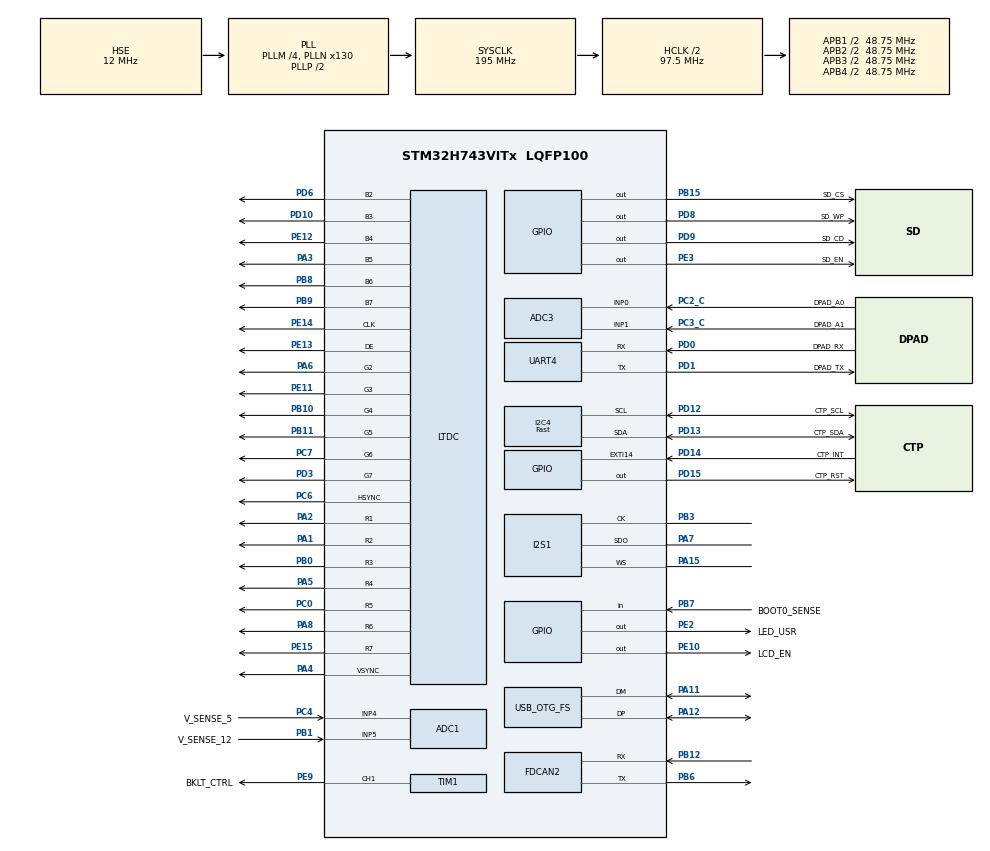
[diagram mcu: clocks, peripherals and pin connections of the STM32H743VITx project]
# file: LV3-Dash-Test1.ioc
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ADC1.Channel-1\#ChannelRegularConversion=ADC_CHANNEL_4
ADC1.NbrOfConversionFlag=1
ADC1.OffsetNumber-1\#ChannelRegularConversion=ADC_OFFSET_NONE
ADC1.OffsetSignedSaturation-1\#ChannelRegularConversion=DISABLE
ADC1.Rank-1\#ChannelRegularConversion=1
ADC1.SamplingTime-1\#ChannelRegularConversion=ADC_SAMPLETIME_1CYCLE_5
ADC1.master=1
ADC3.Channel-0\#ChannelRegularConversion=ADC_CHANNEL_TEMPSENSOR
ADC3.NbrOfConversion=1
ADC3.NbrOfConversionFlag=1
ADC3.OffsetNumber-0\#ChannelRegularConversion=ADC_OFFSET_NONE
ADC3.OffsetSignedSaturation-0\#ChannelRegularConversion=DISABLE
ADC3.Rank-0\#ChannelRegularConversion=1
ADC3.SamplingTime-0\#ChannelRegularConversion=ADC_SAMPLETIME_32CYCLES_5
CORTEX_M7.CPU_DCache=Enabled
CORTEX_M7.CPU_ICache=Enabled
CORTEX_M7.Enable_Spec=__NULL
CORTEX_M7.MPU_Control=__NULL
CORTEX_M7.default_mode_Activation=1
DMA2D.ColorMode=DMA2D_OUTPUT_RGB565
FDCAN2.CalculateBaudRateNominal=781250
FDCAN2.CalculateTimeBitNominal=1280
FDCAN2.CalculateTimeQuantumNominal=426.6666666666667
FDCAN2.TxBuffersNbr=16
FDCAN2.TxEventsNbr=8
FDCAN2.TxFifoQueueElmtsNbr=16
I2C4.I2C_Speed_Mode=I2C_Fast
I2C4.Speed=300
I2C4.Timing=0x00403A5E
I2S1.ErrorAudioFreq=-0.01 %
I2S1.Instance=SPI$Index
I2S1.RealAudioFreq=7.999 KHz
LTDC.ActiveH=272
LTDC.ActiveW=480
LTDC.Alpha0_L0=255
LTDC.Alpha_L0=255
LTDC.Blue_L0=255
LTDC.HBP=40
LTDC.HFP=5
LTDC.ImageHeight_L0=272
LTDC.ImageWidth_L0=480
LTDC.Layers=0
LTDC.PixelFormat_L0=LTDC_PIXEL_FORMAT_RGB565
LTDC.VBP=8
LTDC.VFP=8
LTDC.WindowX1_L0=480
LTDC.WindowY0_L0=0
LTDC.WindowY1_L0=272
Mcu.Family=STM32H7
Mcu.Name=STM32H743VITx
Mcu.Package=LQFP100
NVIC.LTDC_ER_IRQn=true\:0\:0\:false\:false\:true\:true\:true\:true
NVIC.LTDC_IRQn=true\:0\:0\:false\:false\:true\:true\:true\:true
NVIC.PriorityGroup=NVIC_PRIORITYGROUP_4
PA1.Mode=RGB666
PA1.Signal=LTDC_R2
PA11.Mode=Host_Only
PA11.Signal=USB_OTG_FS_DM
PA12.Mode=Host_Only
PA12.Signal=USB_OTG_FS_DP
PA13\ (JTMS/SWDIO).Mode=Serial_Wire
PA13\ (JTMS/SWDIO).Signal=DEBUG_JTMS-SWDIO
PA14\ (JTCK/SWCLK).Mode=Serial_Wire
PA14\ (JTCK/SWCLK).Signal=DEBUG_JTCK-SWCLK
PA15\ (JTDI).Mode=Half_Duplex_Master_Tx
PA15\ (JTDI).Signal=I2S1_WS
PA2.Mode=RGB666
PA2.Signal=LTDC_R1
PA3.Mode=RGB666
PA3.Signal=LTDC_B5
PA4.Mode=RGB666
PA4.Signal=LTDC_VSYNC
PA5.Mode=RGB666
PA5.Signal=LTDC_R4
PA6.Mode=RGB666
PA6.Signal=LTDC_G2
PA7.Mode=Half_Duplex_Master_Tx
PA7.Signal=I2S1_SDO
PA8.Mode=RGB666
PA8.Signal=LTDC_R6
PB0.Mode=RGB666
PB0.Signal=LTDC_R3
PB1.GPIO_Label=V_SENSE_12
PB1.Signal=ADCx_INP5
PB10.Mode=RGB666
PB10.Signal=LTDC_G4
PB11.Mode=RGB666
PB11.Signal=LTDC_G5
PB12.Mode=FDCAN_Activate
PB12.Signal=FDCAN2_RX
PB15.GPIO_Label=SD_CS
PB15.Signal=GPIO_Output
PB3\ (JTDO/TRACESWO).Mode=Half_Duplex_Master_Tx
PB3\ (JTDO/TRACESWO).Signal=I2S1_CK
PB6.Mode=FDCAN_Activate
PB6.Signal=FDCAN2_TX
PB7.GPIO_Label=BOOT0_SENSE
PB7.Signal=GPIO_Input
PB8.Mode=RGB666
PB8.Signal=LTDC_B6
PB9.Mode=RGB666
PB9.Signal=LTDC_B7
PC0.Mode=RGB666
PC0.Signal=LTDC_R5
PC2_C.GPIO_Label=DPAD_A0
PC2_C.Mode=IN0-Single-Ended
PC2_C.Signal=ADC3_INP0
PC3_C.GPIO_Label=DPAD_A1
PC3_C.Mode=IN1-Single-Ended
PC3_C.Signal=ADC3_INP1
PC4.GPIO_Label=V_SENSE_5
PC4.Signal=ADCx_INP4
PC6.Mode=RGB666
PC6.Signal=LTDC_HSYNC
PC7.Mode=RGB666
PC7.Signal=LTDC_G6
PD0.GPIO_Label=DPAD_RX
PD0.Mode=Asynchronous
PD0.Signal=UART4_RX
PD1.GPIO_Label=DPAD_TX
PD1.Mode=Asynchronous
PD1.Signal=UART4_TX
PD10.Mode=RGB666
PD10.Signal=LTDC_B3
PD12.GPIO_Label=CTP_SCL
PD12.GPIO_Speed=GPIO_SPEED_FREQ_HIGH
PD12.Mode=I2C
PD12.Signal=I2C4_SCL
PD13.GPIO_Label=CTP_SDA
PD13.GPIO_Speed=GPIO_SPEED_FREQ_HIGH
PD13.Mode=I2C
PD13.Signal=I2C4_SDA
PD14.GPIO_Label=CTP_INT
PD14.GPIO_ModeDefaultEXTI=GPIO_MODE_IT_RISING_FALLING
PD14.Signal=GPXTI14
PD15.GPIO_Label=CTP_RST
PD15.Signal=GPIO_Output
PD3.Mode=RGB666
PD3.Signal=LTDC_G7
PD6.Mode=RGB666
PD6.Signal=LTDC_B2
PD8.GPIO_Label=SD_WP
PD8.Signal=GPIO_Output
PD9.GPIO_Label=SD_CD
PD9.Signal=GPIO_Output
PE10.GPIO_Label=LCD_EN
PE10.Signal=GPIO_Output
PE11.Mode=RGB666
PE11.Signal=LTDC_G3
PE12.Mode=RGB666
PE12.Signal=LTDC_B4
PE13.Mode=RGB666
PE13.Signal=LTDC_DE
PE14.Mode=RGB666
PE14.Signal=LTDC_CLK
PE15.Mode=RGB666
PE15.Signal=LTDC_R7
PE2.GPIO_Label=LED_USR
PE2.Signal=GPIO_Output
PE3.GPIO_Label=SD_EN
PE3.Signal=GPIO_Output
PE9.GPIO_Label=BKLT_CTRL
PE9.Signal=S_TIM1_CH1
PH0-OSC_IN\ (PH0).Mode=HSE-External-Oscillator
PH0-OSC_IN\ (PH0).Signal=RCC_OSC_IN
PH1-OSC_OUT\ (PH1).Mode=HSE-External-Oscillator
PH1-OSC_OUT\ (PH1).Signal=RCC_OSC_OUT
ProjectManager.HeapSize=0x200
ProjectManager.StackSize=0x400
ProjectManager.TargetToolchain=CMake
RCC.ADCFreq_Value=75000000
RCC.APB1Freq_Value=48750000
RCC.APB2Freq_Value=48750000
RCC.APB3Freq_Value=48750000
RCC.APB4Freq_Value=48750000
RCC.CortexFreq_Value=195000000
RCC.D1PPRE=RCC_APB3_DIV2
RCC.D2PPRE1=RCC_APB1_DIV2
RCC.D2PPRE2=RCC_APB2_DIV2
RCC.D3PPRE=RCC_APB4_DIV2
RCC.DIVM1=4
RCC.DIVM2=8
RCC.DIVM3=8
RCC.DIVN1=130
RCC.DIVN2=100
RCC.DIVN3=192
RCC.DIVQ2=4
RCC.DIVR3=24
RCC.FDCANCLockSelection=RCC_FDCANCLKSOURCE_PLL2
RCC.HCLKFreq_Value=97500000
RCC.HPRE=RCC_HCLK_DIV2
RCC.HSE_VALUE=12000000
RCC.PLLSourceVirtual=RCC_PLLSOURCE_HSE
RCC.SDMMC1CLockSelection=RCC_SDMMCCLKSOURCE_PLL2
RCC.SPI123CLockSelection=RCC_SPI123CLKSOURCE_PLL2
RCC.SYSCLKFreq_VALUE=195000000
RCC.SYSCLKSource=RCC_SYSCLKSOURCE_PLLCLK
RCC.USBCLockSelection=RCC_USBCLKSOURCE_HSI48
RCC.USBFreq_Value=48000000
SH.ADCx_INP4.0=ADC1_INP4,IN4-Single-Ended
SH.ADCx_INP5.0=ADC1_INP5,IN5-Single-Ended
SH.S_TIM1_CH1.0=TIM1_CH1,PWM Generation1 CH1
TIM1.Channel-PWM\ Generation1\ CH1=TIM_CHANNEL_1
TIM1.Period=100
TIM1.Prescaler=10000
USB_OTG_FS.VirtualMode=Host_Only
USB_OTG_FS.phy_itface=HCD_PHY_EMBEDDED
VP_ADC3_TempSens_Input.Mode=IN-TempSens
VP_DMA2D_VS_DMA2D.Mode=DMA2D_Activate
VP_MEMORYMAP_VS_MEMORYMAP.Mode=CurAppReg
board=custom

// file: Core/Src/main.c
/* USER CODE BEGIN Header */
/**
 ******************************************************************************
 * @file           : main.c
 * @brief          : Main program body
 ******************************************************************************
 * @attention
 *
 * Copyright (c) 2026 STMicroelectronics.
 * All rights reserved.
 *
 * This software is licensed under terms that can be found in the LICENSE file
 * in the root directory of this software component.
 * If no LICENSE file comes with this software, it is provided AS-IS.
 *
 ******************************************************************************
 */
/* USER CODE END Header */
#include "main.h"

/* USER CODE BEGIN Includes */

#include <string.h>

// #include "ui.h"
#include "FT5206.h"
#include "LCDController.h"
#include "demos/widgets/lv_demo_widgets.h"
#include "lv_demos.h"
#include "lvgl.h"

/* USER CODE END Includes */

ADC_HandleTypeDef hadc1;
ADC_HandleTypeDef hadc3;

DMA2D_HandleTypeDef hdma2d;

FDCAN_HandleTypeDef hfdcan2;

I2C_HandleTypeDef hi2c4;

I2S_HandleTypeDef hi2s1;

LTDC_HandleTypeDef hltdc;

TIM_HandleTypeDef htim1;

UART_HandleTypeDef huart4;

HCD_HandleTypeDef hhcd_USB_OTG_FS;

/* USER CODE BEGIN PV */

uint16_t adc_temp_value;
uint16_t mcu_temperature;

/* USER CODE END PV */

void SystemClock_Config(void);
void PeriphCommonClock_Config(void);
static void MX_GPIO_Init(void);
static void MX_I2S1_Init(void);
static void MX_LTDC_Init(void);
static void MX_USB_OTG_FS_HCD_Init(void);
static void MX_ADC3_Init(void);
static void MX_ADC1_Init(void);
static void MX_I2C4_Init(void);
static void MX_TIM1_Init(void);
static void MX_UART4_Init(void);
static void MX_FDCAN2_Init(void);
static void MX_DMA2D_Init(void);

int main(void)
{

  /* USER CODE BEGIN 1 */

  // start PWM at 0%

  /* USER CODE END 1 */

  /* Enable the CPU Cache */

  /* Enable I-Cache---------------------------------------------------------*/
  SCB_EnableICache();

  /* Enable D-Cache---------------------------------------------------------*/
  SCB_EnableDCache();

  /* MCU Configuration--------------------------------------------------------*/

  /* Reset of all peripherals, Initializes the Flash interface and the Systick. */
  HAL_Init();

  /* Configure the system clock */
  SystemClock_Config();

  /* Configure the peripherals common clocks */
  PeriphCommonClock_Config();

  /* Initialize all configured peripherals */
  MX_GPIO_Init();
  MX_I2S1_Init();
  MX_LTDC_Init();
  MX_USB_OTG_FS_HCD_Init();
  MX_ADC3_Init();
  MX_ADC1_Init();
  MX_I2C4_Init();
  MX_TIM1_Init();
  MX_UART4_Init();
  MX_FDCAN2_Init();
  MX_DMA2D_Init();
  /* USER CODE BEGIN 2 */

  __HAL_TIM_SET_COMPARE(&htim1, TIM_CHANNEL_1, 0);
  HAL_TIM_PWM_Start(&htim1, TIM_CHANNEL_1);

  // clear frame buffers
  // memset(fb_axiram, 0, FRAME_SIZE);
  // memset(fb_sram, 0, FRAME_SIZE);

  lv_init();
  lv_port_disp_init(&hltdc);

  FT5206_Init();
  static lv_indev_drv_t indev_drv;
  lv_indev_drv_init(&indev_drv);
  indev_drv.type = LV_INDEV_TYPE_POINTER;
  indev_drv.read_cb = FT5206_Read;
  lv_indev_drv_register(&indev_drv);

  // lv_demo_benchmark();
  lv_demo_widgets();

  // ui_init();

  static int backlight_pct = 0;

  /* USER CODE END 2 */

  /* Infinite loop */
  while (1) {

    /* USER CODE BEGIN 3 */
    if (backlight_pct <= 100) {
      backlight_pct++;
      __HAL_TIM_SET_COMPARE(&htim1, TIM_CHANNEL_1, backlight_pct);
    }

    HAL_ADC_Start(&hadc3);
    if (HAL_ADC_PollForConversion(&hadc3, 10) == HAL_OK) {
      adc_temp_value = HAL_ADC_GetValue(&hadc3);
      // Convert ADC value to temperature in Celsius
      // STM32H7 internal temp sensor: ~0.61mV/°C with 760mV at 25°C
      mcu_temperature =
          __HAL_ADC_CALC_TEMPERATURE(3300, adc_temp_value, ADC_RESOLUTION_16B);
    }
    HAL_ADC_Stop(&hadc3);

    // HAL_GPIO_TogglePin(LED_USR_GPIO_Port, LED_USR_Pin);
    lv_task_handler();
    HAL_Delay(5);
  }
  /* USER CODE END 3 */
}

void SystemClock_Config(void)
{
  RCC_OscInitTypeDef RCC_OscInitStruct = {0};
  RCC_ClkInitTypeDef RCC_ClkInitStruct = {0};

  /** Supply configuration update enable
  */
  HAL_PWREx_ConfigSupply(PWR_LDO_SUPPLY);

  /** Configure the main internal regulator output voltage
  */
  __HAL_PWR_VOLTAGESCALING_CONFIG(PWR_REGULATOR_VOLTAGE_SCALE3);

  while(!__HAL_PWR_GET_FLAG(PWR_FLAG_VOSRDY)) {}

  /** Initializes the RCC Oscillators according to the specified parameters
  * in the RCC_OscInitTypeDef structure.
  */
  RCC_OscInitStruct.OscillatorType = RCC_OSCILLATORTYPE_HSI48|RCC_OSCILLATORTYPE_HSE;
  RCC_OscInitStruct.HSEState = RCC_HSE_ON;
  RCC_OscInitStruct.HSI48State = RCC_HSI48_ON;
  RCC_OscInitStruct.PLL.PLLState = RCC_PLL_ON;
  RCC_OscInitStruct.PLL.PLLSource = RCC_PLLSOURCE_HSE;
  RCC_OscInitStruct.PLL.PLLM = 4;
  RCC_OscInitStruct.PLL.PLLN = 130;
  RCC_OscInitStruct.PLL.PLLP = 2;
  RCC_OscInitStruct.PLL.PLLQ = 2;
  RCC_OscInitStruct.PLL.PLLR = 2;
  RCC_OscInitStruct.PLL.PLLRGE = RCC_PLL1VCIRANGE_1;
  RCC_OscInitStruct.PLL.PLLVCOSEL = RCC_PLL1VCOWIDE;
  RCC_OscInitStruct.PLL.PLLFRACN = 0;
  if (HAL_RCC_OscConfig(&RCC_OscInitStruct) != HAL_OK)
  {
    Error_Handler();
  }

  /** Initializes the CPU, AHB and APB buses clocks
  */
  RCC_ClkInitStruct.ClockType = RCC_CLOCKTYPE_HCLK|RCC_CLOCKTYPE_SYSCLK
                              |RCC_CLOCKTYPE_PCLK1|RCC_CLOCKTYPE_PCLK2
                              |RCC_CLOCKTYPE_D3PCLK1|RCC_CLOCKTYPE_D1PCLK1;
  RCC_ClkInitStruct.SYSCLKSource = RCC_SYSCLKSOURCE_PLLCLK;
  RCC_ClkInitStruct.SYSCLKDivider = RCC_SYSCLK_DIV1;
  RCC_ClkInitStruct.AHBCLKDivider = RCC_HCLK_DIV2;
  RCC_ClkInitStruct.APB3CLKDivider = RCC_APB3_DIV2;
  RCC_ClkInitStruct.APB1CLKDivider = RCC_APB1_DIV2;
  RCC_ClkInitStruct.APB2CLKDivider = RCC_APB2_DIV2;
  RCC_ClkInitStruct.APB4CLKDivider = RCC_APB4_DIV2;

  if (HAL_RCC_ClockConfig(&RCC_ClkInitStruct, FLASH_LATENCY_2) != HAL_OK)
  {
    Error_Handler();
  }
}

void PeriphCommonClock_Config(void)
{
  RCC_PeriphCLKInitTypeDef PeriphClkInitStruct = {0};

  /** Initializes the peripherals clock
  */
  PeriphClkInitStruct.PeriphClockSelection = RCC_PERIPHCLK_ADC|RCC_PERIPHCLK_SPI1
                              |RCC_PERIPHCLK_FDCAN;
  PeriphClkInitStruct.PLL2.PLL2M = 8;
  PeriphClkInitStruct.PLL2.PLL2N = 100;
  PeriphClkInitStruct.PLL2.PLL2P = 2;
  PeriphClkInitStruct.PLL2.PLL2Q = 4;
  PeriphClkInitStruct.PLL2.PLL2R = 2;
  PeriphClkInitStruct.PLL2.PLL2RGE = RCC_PLL2VCIRANGE_0;
  PeriphClkInitStruct.PLL2.PLL2VCOSEL = RCC_PLL2VCOMEDIUM;
  PeriphClkInitStruct.PLL2.PLL2FRACN = 0;
  PeriphClkInitStruct.Spi123ClockSelection = RCC_SPI123CLKSOURCE_PLL2;
  PeriphClkInitStruct.FdcanClockSelection = RCC_FDCANCLKSOURCE_PLL2;
  PeriphClkInitStruct.AdcClockSelection = RCC_ADCCLKSOURCE_PLL2;
  if (HAL_RCCEx_PeriphCLKConfig(&PeriphClkInitStruct) != HAL_OK)
  {
    Error_Handler();
  }
}

static void MX_ADC1_Init(void)
{

  ADC_MultiModeTypeDef multimode = {0};
  ADC_ChannelConfTypeDef sConfig = {0};

  /** Common config
  */
  hadc1.Instance = ADC1;
  hadc1.Init.ClockPrescaler = ADC_CLOCK_ASYNC_DIV2;
  hadc1.Init.Resolution = ADC_RESOLUTION_16B;
  hadc1.Init.ScanConvMode = ADC_SCAN_DISABLE;
  hadc1.Init.EOCSelection = ADC_EOC_SINGLE_CONV;
  hadc1.Init.LowPowerAutoWait = DISABLE;
  hadc1.Init.ContinuousConvMode = DISABLE;
  hadc1.Init.NbrOfConversion = 1;
  hadc1.Init.DiscontinuousConvMode = DISABLE;
  hadc1.Init.ExternalTrigConv = ADC_SOFTWARE_START;
  hadc1.Init.ExternalTrigConvEdge = ADC_EXTERNALTRIGCONVEDGE_NONE;
  hadc1.Init.ConversionDataManagement = ADC_CONVERSIONDATA_DR;
  hadc1.Init.Overrun = ADC_OVR_DATA_PRESERVED;
  hadc1.Init.LeftBitShift = ADC_LEFTBITSHIFT_NONE;
  hadc1.Init.OversamplingMode = DISABLE;
  hadc1.Init.Oversampling.Ratio = 1;
  if (HAL_ADC_Init(&hadc1) != HAL_OK)
  {
    Error_Handler();
  }

  /** Configure the ADC multi-mode
  */
  multimode.Mode = ADC_MODE_INDEPENDENT;
  if (HAL_ADCEx_MultiModeConfigChannel(&hadc1, &multimode) != HAL_OK)
  {
    Error_Handler();
  }

  /** Configure Regular Channel
  */
  sConfig.Channel = ADC_CHANNEL_4;
  sConfig.Rank = ADC_REGULAR_RANK_1;
  sConfig.SamplingTime = ADC_SAMPLETIME_1CYCLE_5;
  sConfig.SingleDiff = ADC_SINGLE_ENDED;
  sConfig.OffsetNumber = ADC_OFFSET_NONE;
  sConfig.Offset = 0;
  sConfig.OffsetSignedSaturation = DISABLE;
  if (HAL_ADC_ConfigChannel(&hadc1, &sConfig) != HAL_OK)
  {
    Error_Handler();
  }

}

static void MX_ADC3_Init(void)
{

  ADC_ChannelConfTypeDef sConfig = {0};

  /** Common config
  */
  hadc3.Instance = ADC3;
  hadc3.Init.Resolution = ADC_RESOLUTION_16B;
  hadc3.Init.ScanConvMode = ADC_SCAN_DISABLE;
  hadc3.Init.EOCSelection = ADC_EOC_SINGLE_CONV;
  hadc3.Init.LowPowerAutoWait = DISABLE;
  hadc3.Init.ContinuousConvMode = DISABLE;
  hadc3.Init.NbrOfConversion = 1;
  hadc3.Init.DiscontinuousConvMode = DISABLE;
  hadc3.Init.ExternalTrigConv = ADC_SOFTWARE_START;
  hadc3.Init.ExternalTrigConvEdge = ADC_EXTERNALTRIGCONVEDGE_NONE;
  hadc3.Init.ConversionDataManagement = ADC_CONVERSIONDATA_DR;
  hadc3.Init.Overrun = ADC_OVR_DATA_PRESERVED;
  hadc3.Init.LeftBitShift = ADC_LEFTBITSHIFT_NONE;
  hadc3.Init.OversamplingMode = DISABLE;
  hadc3.Init.Oversampling.Ratio = 1;
  if (HAL_ADC_Init(&hadc3) != HAL_OK)
  {
    Error_Handler();
  }

  /** Configure Regular Channel
  */
  sConfig.Channel = ADC_CHANNEL_TEMPSENSOR;
  sConfig.Rank = ADC_REGULAR_RANK_1;
  sConfig.SamplingTime = ADC_SAMPLETIME_32CYCLES_5;
  sConfig.SingleDiff = ADC_SINGLE_ENDED;
  sConfig.OffsetNumber = ADC_OFFSET_NONE;
  sConfig.Offset = 0;
  sConfig.OffsetSignedSaturation = DISABLE;
  if (HAL_ADC_ConfigChannel(&hadc3, &sConfig) != HAL_OK)
  {
    Error_Handler();
  }

}

static void MX_DMA2D_Init(void)
{

  hdma2d.Instance = DMA2D;
  hdma2d.Init.Mode = DMA2D_M2M;
  hdma2d.Init.ColorMode = DMA2D_OUTPUT_RGB565;
  hdma2d.Init.OutputOffset = 0;
  hdma2d.LayerCfg[1].InputOffset = 0;
  hdma2d.LayerCfg[1].InputColorMode = DMA2D_INPUT_RGB565;
  hdma2d.LayerCfg[1].AlphaMode = DMA2D_NO_MODIF_ALPHA;
  hdma2d.LayerCfg[1].InputAlpha = 0;
  hdma2d.LayerCfg[1].AlphaInverted = DMA2D_REGULAR_ALPHA;
  hdma2d.LayerCfg[1].RedBlueSwap = DMA2D_RB_REGULAR;
  hdma2d.LayerCfg[1].ChromaSubSampling = DMA2D_NO_CSS;
  if (HAL_DMA2D_Init(&hdma2d) != HAL_OK)
  {
    Error_Handler();
  }
  if (HAL_DMA2D_ConfigLayer(&hdma2d, 1) != HAL_OK)
  {
    Error_Handler();
  }

}

static void MX_FDCAN2_Init(void)
{

  hfdcan2.Instance = FDCAN2;
  hfdcan2.Init.FrameFormat = FDCAN_FRAME_CLASSIC;
  hfdcan2.Init.Mode = FDCAN_MODE_NORMAL;
  hfdcan2.Init.AutoRetransmission = DISABLE;
  hfdcan2.Init.TransmitPause = DISABLE;
  hfdcan2.Init.ProtocolException = DISABLE;
  hfdcan2.Init.NominalPrescaler = 16;
  hfdcan2.Init.NominalSyncJumpWidth = 1;
  hfdcan2.Init.NominalTimeSeg1 = 1;
  hfdcan2.Init.NominalTimeSeg2 = 1;
  hfdcan2.Init.DataPrescaler = 1;
  hfdcan2.Init.DataSyncJumpWidth = 1;
  hfdcan2.Init.DataTimeSeg1 = 1;
  hfdcan2.Init.DataTimeSeg2 = 1;
  hfdcan2.Init.MessageRAMOffset = 0;
  hfdcan2.Init.StdFiltersNbr = 0;
  hfdcan2.Init.ExtFiltersNbr = 0;
  hfdcan2.Init.RxFifo0ElmtsNbr = 0;
  hfdcan2.Init.RxFifo0ElmtSize = FDCAN_DATA_BYTES_8;
  hfdcan2.Init.RxFifo1ElmtsNbr = 0;
  hfdcan2.Init.RxFifo1ElmtSize = FDCAN_DATA_BYTES_8;
  hfdcan2.Init.RxBuffersNbr = 0;
  hfdcan2.Init.RxBufferSize = FDCAN_DATA_BYTES_8;
  hfdcan2.Init.TxEventsNbr = 8;
  hfdcan2.Init.TxBuffersNbr = 16;
  hfdcan2.Init.TxFifoQueueElmtsNbr = 16;
  hfdcan2.Init.TxFifoQueueMode = FDCAN_TX_FIFO_OPERATION;
  hfdcan2.Init.TxElmtSize = FDCAN_DATA_BYTES_8;
  if (HAL_FDCAN_Init(&hfdcan2) != HAL_OK)
  {
    Error_Handler();
  }

}

static void MX_I2C4_Init(void)
{

  hi2c4.Instance = I2C4;
  hi2c4.Init.Timing = 0x00403A5E;
  hi2c4.Init.OwnAddress1 = 0;
  hi2c4.Init.AddressingMode = I2C_ADDRESSINGMODE_7BIT;
  hi2c4.Init.DualAddressMode = I2C_DUALADDRESS_DISABLE;
  hi2c4.Init.OwnAddress2 = 0;
  hi2c4.Init.OwnAddress2Masks = I2C_OA2_NOMASK;
  hi2c4.Init.GeneralCallMode = I2C_GENERALCALL_DISABLE;
  hi2c4.Init.NoStretchMode = I2C_NOSTRETCH_DISABLE;
  if (HAL_I2C_Init(&hi2c4) != HAL_OK)
  {
    Error_Handler();
  }

  /** Configure Analogue filter
  */
  if (HAL_I2CEx_ConfigAnalogFilter(&hi2c4, I2C_ANALOGFILTER_ENABLE) != HAL_OK)
  {
    Error_Handler();
  }

  /** Configure Digital filter
  */
  if (HAL_I2CEx_ConfigDigitalFilter(&hi2c4, 0) != HAL_OK)
  {
    Error_Handler();
  }

}

static void MX_I2S1_Init(void)
{

  hi2s1.Instance = SPI1;
  hi2s1.Init.Mode = I2S_MODE_MASTER_TX;
  hi2s1.Init.Standard = I2S_STANDARD_PHILIPS;
  hi2s1.Init.DataFormat = I2S_DATAFORMAT_16B;
  hi2s1.Init.MCLKOutput = I2S_MCLKOUTPUT_DISABLE;
  hi2s1.Init.AudioFreq = I2S_AUDIOFREQ_8K;
  hi2s1.Init.CPOL = I2S_CPOL_LOW;
  hi2s1.Init.FirstBit = I2S_FIRSTBIT_MSB;
  hi2s1.Init.WSInversion = I2S_WS_INVERSION_DISABLE;
  hi2s1.Init.Data24BitAlignment = I2S_DATA_24BIT_ALIGNMENT_RIGHT;
  hi2s1.Init.MasterKeepIOState = I2S_MASTER_KEEP_IO_STATE_DISABLE;
  if (HAL_I2S_Init(&hi2s1) != HAL_OK)
  {
    Error_Handler();
  }

}

static void MX_LTDC_Init(void)
{

  LTDC_LayerCfgTypeDef pLayerCfg = {0};

  hltdc.Instance = LTDC;
  hltdc.Init.HSPolarity = LTDC_HSPOLARITY_AL;
  hltdc.Init.VSPolarity = LTDC_VSPOLARITY_AL;
  hltdc.Init.DEPolarity = LTDC_DEPOLARITY_AL;
  hltdc.Init.PCPolarity = LTDC_PCPOLARITY_IPC;
  hltdc.Init.HorizontalSync = 7;
  hltdc.Init.VerticalSync = 3;
  hltdc.Init.AccumulatedHBP = 47;
  hltdc.Init.AccumulatedVBP = 11;
  hltdc.Init.AccumulatedActiveW = 527;
  hltdc.Init.AccumulatedActiveH = 283;
  hltdc.Init.TotalWidth = 532;
  hltdc.Init.TotalHeigh = 291;
  hltdc.Init.Backcolor.Blue = 0;
  hltdc.Init.Backcolor.Green = 0;
  hltdc.Init.Backcolor.Red = 0;
  if (HAL_LTDC_Init(&hltdc) != HAL_OK)
  {
    Error_Handler();
  }
  pLayerCfg.WindowX0 = 0;
  pLayerCfg.WindowX1 = 480;
  pLayerCfg.WindowY0 = 0;
  pLayerCfg.WindowY1 = 272;
  pLayerCfg.PixelFormat = LTDC_PIXEL_FORMAT_RGB565;
  pLayerCfg.Alpha = 255;
  pLayerCfg.Alpha0 = 255;
  pLayerCfg.BlendingFactor1 = LTDC_BLENDING_FACTOR1_CA;
  pLayerCfg.BlendingFactor2 = LTDC_BLENDING_FACTOR2_CA;
  pLayerCfg.FBStartAdress = 0;
  pLayerCfg.ImageWidth = 480;
  pLayerCfg.ImageHeight = 272;
  pLayerCfg.Backcolor.Blue = 255;
  pLayerCfg.Backcolor.Green = 0;
  pLayerCfg.Backcolor.Red = 0;
  if (HAL_LTDC_ConfigLayer(&hltdc, &pLayerCfg, 0) != HAL_OK)
  {
    Error_Handler();
  }

}

static void MX_TIM1_Init(void)
{

  TIM_MasterConfigTypeDef sMasterConfig = {0};
  TIM_OC_InitTypeDef sConfigOC = {0};
  TIM_BreakDeadTimeConfigTypeDef sBreakDeadTimeConfig = {0};

  htim1.Instance = TIM1;
  htim1.Init.Prescaler = 10000;
  htim1.Init.CounterMode = TIM_COUNTERMODE_UP;
  htim1.Init.Period = 100;
  htim1.Init.ClockDivision = TIM_CLOCKDIVISION_DIV1;
  htim1.Init.RepetitionCounter = 0;
  htim1.Init.AutoReloadPreload = TIM_AUTORELOAD_PRELOAD_DISABLE;
  if (HAL_TIM_PWM_Init(&htim1) != HAL_OK)
  {
    Error_Handler();
  }
  sMasterConfig.MasterOutputTrigger = TIM_TRGO_RESET;
  sMasterConfig.MasterOutputTrigger2 = TIM_TRGO2_RESET;
  sMasterConfig.MasterSlaveMode = TIM_MASTERSLAVEMODE_DISABLE;
  if (HAL_TIMEx_MasterConfigSynchronization(&htim1, &sMasterConfig) != HAL_OK)
  {
    Error_Handler();
  }
  sConfigOC.OCMode = TIM_OCMODE_PWM1;
  sConfigOC.Pulse = 0;
  sConfigOC.OCPolarity = TIM_OCPOLARITY_HIGH;
  sConfigOC.OCNPolarity = TIM_OCNPOLARITY_HIGH;
  sConfigOC.OCFastMode = TIM_OCFAST_DISABLE;
  sConfigOC.OCIdleState = TIM_OCIDLESTATE_RESET;
  sConfigOC.OCNIdleState = TIM_OCNIDLESTATE_RESET;
  if (HAL_TIM_PWM_ConfigChannel(&htim1, &sConfigOC, TIM_CHANNEL_1) != HAL_OK)
  {
    Error_Handler();
  }
  sBreakDeadTimeConfig.OffStateRunMode = TIM_OSSR_DISABLE;
  sBreakDeadTimeConfig.OffStateIDLEMode = TIM_OSSI_DISABLE;
  sBreakDeadTimeConfig.LockLevel = TIM_LOCKLEVEL_OFF;
  sBreakDeadTimeConfig.DeadTime = 0;
  sBreakDeadTimeConfig.BreakState = TIM_BREAK_DISABLE;
  sBreakDeadTimeConfig.BreakPolarity = TIM_BREAKPOLARITY_HIGH;
  sBreakDeadTimeConfig.BreakFilter = 0;
  sBreakDeadTimeConfig.Break2State = TIM_BREAK2_DISABLE;
  sBreakDeadTimeConfig.Break2Polarity = TIM_BREAK2POLARITY_HIGH;
  sBreakDeadTimeConfig.Break2Filter = 0;
  sBreakDeadTimeConfig.AutomaticOutput = TIM_AUTOMATICOUTPUT_DISABLE;
  if (HAL_TIMEx_ConfigBreakDeadTime(&htim1, &sBreakDeadTimeConfig) != HAL_OK)
  {
    Error_Handler();
  }
  HAL_TIM_MspPostInit(&htim1);

}

static void MX_UART4_Init(void)
{

  huart4.Instance = UART4;
  huart4.Init.BaudRate = 115200;
  huart4.Init.WordLength = UART_WORDLENGTH_8B;
  huart4.Init.StopBits = UART_STOPBITS_1;
  huart4.Init.Parity = UART_PARITY_NONE;
  huart4.Init.Mode = UART_MODE_TX_RX;
  huart4.Init.HwFlowCtl = UART_HWCONTROL_NONE;
  huart4.Init.OverSampling = UART_OVERSAMPLING_16;
  huart4.Init.OneBitSampling = UART_ONE_BIT_SAMPLE_DISABLE;
  huart4.Init.ClockPrescaler = UART_PRESCALER_DIV1;
  huart4.AdvancedInit.AdvFeatureInit = UART_ADVFEATURE_NO_INIT;
  if (HAL_UART_Init(&huart4) != HAL_OK)
  {
    Error_Handler();
  }
  if (HAL_UARTEx_SetTxFifoThreshold(&huart4, UART_TXFIFO_THRESHOLD_1_8) != HAL_OK)
  {
    Error_Handler();
  }
  if (HAL_UARTEx_SetRxFifoThreshold(&huart4, UART_RXFIFO_THRESHOLD_1_8) != HAL_OK)
  {
    Error_Handler();
  }
  if (HAL_UARTEx_DisableFifoMode(&huart4) != HAL_OK)
  {
    Error_Handler();
  }

}

static void MX_USB_OTG_FS_HCD_Init(void)
{

  hhcd_USB_OTG_FS.Instance = USB_OTG_FS;
  hhcd_USB_OTG_FS.Init.Host_channels = 16;
  hhcd_USB_OTG_FS.Init.speed = HCD_SPEED_FULL;
  hhcd_USB_OTG_FS.Init.dma_enable = DISABLE;
  hhcd_USB_OTG_FS.Init.phy_itface = HCD_PHY_EMBEDDED;
  hhcd_USB_OTG_FS.Init.Sof_enable = DISABLE;
  if (HAL_HCD_Init(&hhcd_USB_OTG_FS) != HAL_OK)
  {
    Error_Handler();
  }

}

static void MX_GPIO_Init(void)
{
  GPIO_InitTypeDef GPIO_InitStruct = {0};

  /* GPIO Ports Clock Enable */
  __HAL_RCC_GPIOE_CLK_ENABLE();
  __HAL_RCC_GPIOH_CLK_ENABLE();
  __HAL_RCC_GPIOC_CLK_ENABLE();
  __HAL_RCC_GPIOA_CLK_ENABLE();
  __HAL_RCC_GPIOB_CLK_ENABLE();
  __HAL_RCC_GPIOD_CLK_ENABLE();

  /*Configure GPIO pin Output Level */
  HAL_GPIO_WritePin(GPIOE, LED_USR_Pin|SD_EN_Pin|LCD_EN_Pin, GPIO_PIN_RESET);

  /*Configure GPIO pin Output Level */
  HAL_GPIO_WritePin(SD_CS_GPIO_Port, SD_CS_Pin, GPIO_PIN_RESET);

  /*Configure GPIO pin Output Level */
  HAL_GPIO_WritePin(GPIOD, SD_WP_Pin|SD_CD_Pin|CTP_RST_Pin, GPIO_PIN_RESET);

  /*Configure GPIO pins : LED_USR_Pin SD_EN_Pin LCD_EN_Pin */
  GPIO_InitStruct.Pin = LED_USR_Pin|SD_EN_Pin|LCD_EN_Pin;
  GPIO_InitStruct.Mode = GPIO_MODE_OUTPUT_PP;
  GPIO_InitStruct.Pull = GPIO_NOPULL;
  GPIO_InitStruct.Speed = GPIO_SPEED_FREQ_LOW;
  HAL_GPIO_Init(GPIOE, &GPIO_InitStruct);

  /*Configure GPIO pin : SD_CS_Pin */
  GPIO_InitStruct.Pin = SD_CS_Pin;
  GPIO_InitStruct.Mode = GPIO_MODE_OUTPUT_PP;
  GPIO_InitStruct.Pull = GPIO_NOPULL;
  GPIO_InitStruct.Speed = GPIO_SPEED_FREQ_LOW;
  HAL_GPIO_Init(SD_CS_GPIO_Port, &GPIO_InitStruct);

  /*Configure GPIO pins : SD_WP_Pin SD_CD_Pin CTP_RST_Pin */
  GPIO_InitStruct.Pin = SD_WP_Pin|SD_CD_Pin|CTP_RST_Pin;
  GPIO_InitStruct.Mode = GPIO_MODE_OUTPUT_PP;
  GPIO_InitStruct.Pull = GPIO_NOPULL;
  GPIO_InitStruct.Speed = GPIO_SPEED_FREQ_LOW;
  HAL_GPIO_Init(GPIOD, &GPIO_InitStruct);

  /*Configure GPIO pin : CTP_INT_Pin */
  GPIO_InitStruct.Pin = CTP_INT_Pin;
  GPIO_InitStruct.Mode = GPIO_MODE_IT_RISING_FALLING;
  GPIO_InitStruct.Pull = GPIO_NOPULL;
  HAL_GPIO_Init(CTP_INT_GPIO_Port, &GPIO_InitStruct);

  /*Configure GPIO pin : BOOT0_SENSE_Pin */
  GPIO_InitStruct.Pin = BOOT0_SENSE_Pin;
  GPIO_InitStruct.Mode = GPIO_MODE_INPUT;
  GPIO_InitStruct.Pull = GPIO_NOPULL;
  HAL_GPIO_Init(BOOT0_SENSE_GPIO_Port, &GPIO_InitStruct);

}

void Error_Handler(void)
{
  __disable_irq();
  while (1) {
  }
}
#ifdef USE_FULL_ASSERT
/**
  * @brief  Reports the name of the source file and the source line number
  *         where the assert_param error has occurred.
  * @param  file: pointer to the source file name
  * @param  line: assert_param error line source number
  * @retval None
  */
void assert_failed(uint8_t *file, uint32_t line)
{
  /* USER CODE BEGIN 6 */
  /* User can add his own implementation to report the file name and line
     number, ex: printf("Wrong parameters value: file %s on line %d\r\n", file,
     line) */
  /* USER CODE END 6 */
}
#endif /* USE_FULL_ASSERT */
